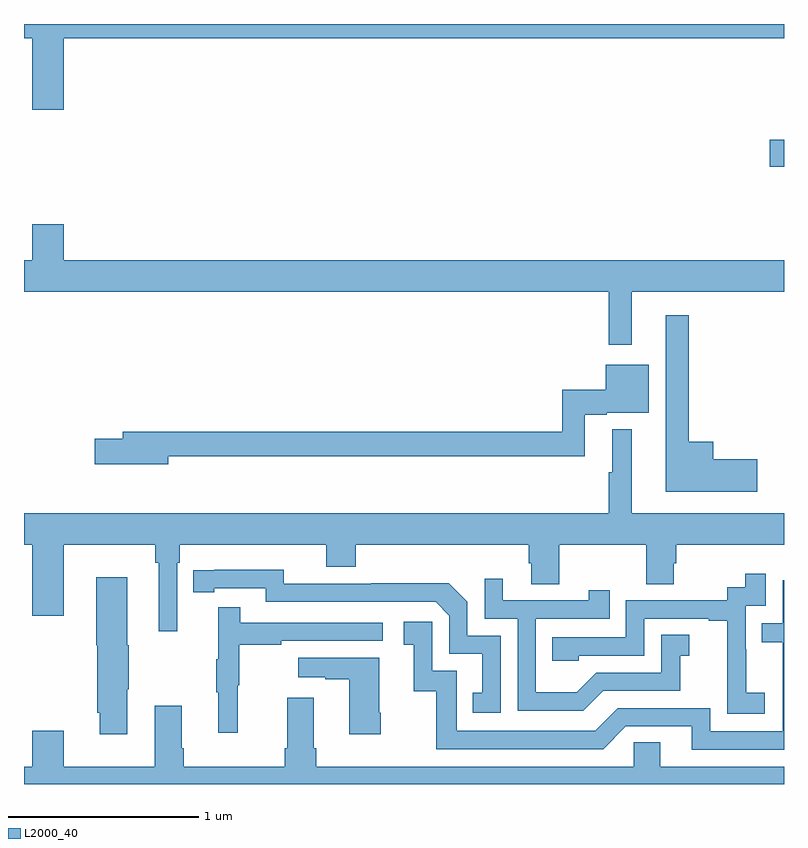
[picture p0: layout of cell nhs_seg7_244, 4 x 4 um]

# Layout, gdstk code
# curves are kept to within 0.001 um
import gdstk
lib = gdstk.Library(unit=1e-6, precision=1e-09)
def R(c, l, rs):  # rectangles x0, y0, x1, y1
    for r in rs: c.add(gdstk.rectangle(r[:2], r[2:], *l))
def P(c, l, *ps):  # polygons
    for p in ps: c.add(gdstk.Polygon(p, *l))
L2000_40 = (2000, 40)

nhs_seg7_244 = lib.new_cell('nhs_seg7_244')
R(nhs_seg7_244, L2000_40, [(132.924,1025.248,133,1025.39)])
P(nhs_seg7_244, L2000_40, [(129.208,1025.924),(133,1025.924),(133,1026),(129,1026),(129,1025.924),(129.044,1025.924),(129.044,1025.55),(129.208,1025.55)],
  [(132.199,1024.592),(133,1024.592),(133,1024.756),(129.208,1024.756),(129.208,1024.945),(129.044,1024.945),(129.044,1024.756),(129,1024.756),(129,1024.592),(132.078,1024.592),(132.078,1024.311),(132.199,1024.311)],
  [(132.859,1023.71),(132.628,1023.71),(132.628,1023.802),(132.499,1023.802),(132.499,1024.468),(132.377,1024.468),(132.377,1023.539),(132.859,1023.539)],
  [(129.76,1023.726),(131.95,1023.726),(131.95,1023.943),(132.066,1023.943),(132.066,1023.953),(132.289,1023.953),(132.289,1024.207),(132.062,1024.207),(132.062,1024.076),(131.833,1024.076),(131.833,1023.854),(129.521,1023.854),(129.521,1023.818),(129.372,1023.818),(129.372,1023.683),(129.76,1023.683)],
  [(129.807,1023.164),(129.821,1023.164),(129.821,1023.26),(130.592,1023.26),(130.592,1023.143),(130.745,1023.143),(130.745,1023.26),(131.657,1023.26),(131.657,1023.162),(131.669,1023.162),(131.669,1023.052),(131.817,1023.052),(131.817,1023.26),(132.274,1023.26),(132.274,1023.052),(132.421,1023.052),(132.421,1023.162),(132.434,1023.162),(132.434,1023.26),(133,1023.26),(133,1023.424),(132.199,1023.424),(132.199,1023.868),(132.097,1023.868),(132.097,1023.641),(132.078,1023.641),(132.078,1023.424),(129,1023.424),(129,1023.26),(129.044,1023.26),(129.044,1022.886),(129.208,1022.886),(129.208,1023.26),(129.691,1023.26),(129.691,1023.164),(129.71,1023.164),(129.71,1022.805),(129.807,1022.805)],
  [(131.508,1022.781),(131.334,1022.781),(131.334,1022.958),(131.236,1023.056),(130.828,1023.056),(130.828,1023.054),(130.368,1023.054),(130.368,1023.127),(129.892,1023.126),(129.892,1023.01),(130,1023.01),(130,1023.03),(130.272,1023.03),(130.272,1022.958),(131.166,1022.958),(131.238,1022.886),(131.238,1022.685),(131.411,1022.685),(131.411,1022.481),(131.362,1022.481),(131.362,1022.376),(131.508,1022.376)],
  [(132.898,1022.479),(132.8,1022.479),(132.8,1022.708),(132.798,1022.708),(132.798,1022.937),(132.903,1022.937),(132.903,1023.106),(132.795,1023.106),(132.795,1023.036),(132.702,1023.036),(132.702,1022.967),(132.168,1022.967),(132.168,1022.772),(131.779,1022.772),(131.779,1022.649),(131.919,1022.649),(131.919,1022.676),(132.264,1022.676),(132.264,1022.871),(132.605,1022.871),(132.605,1022.859),(132.701,1022.859),(132.701,1022.575),(132.7,1022.575),(132.7,1022.369),(132.898,1022.369)],
  [(129.544,1022.5),(129.552,1022.5),(129.552,1022.73),(129.544,1022.73),(129.544,1023.088),(129.38,1023.088),(129.38,1022.73),(129.386,1022.73),(129.386,1022.374),(129.398,1022.374),(129.398,1022.262),(129.544,1022.262)],
  [(132.049,1022.49),(132.453,1022.49),(132.453,1022.675),(132.502,1022.675),(132.502,1022.785),(132.354,1022.785),(132.354,1022.586),(132.012,1022.586),(131.908,1022.482),(131.694,1022.482),(131.694,1022.871),(132.083,1022.871),(132.083,1023.019),(131.972,1023.019),(131.972,1022.967),(131.521,1022.967),(131.521,1023.079),(131.424,1023.079),(131.424,1022.871),(131.598,1022.871),(131.598,1022.385),(131.944,1022.385)],
  [(133,1023.072),(132.993,1023.072),(132.993,1022.847),(132.883,1022.847),(132.883,1022.746),(132.993,1022.746),(132.993,1022.277),(132.612,1022.277),(132.612,1022.4),(132.126,1022.4),(132.006,1022.28),(131.277,1022.28),(131.277,1022.595),(131.148,1022.595),(131.148,1022.854),(130.998,1022.854),(130.998,1022.733),(131.051,1022.733),(131.051,1022.487),(131.169,1022.487),(131.169,1022.184),(132.048,1022.184),(132.168,1022.304),(132.515,1022.304),(132.515,1022.181),(133,1022.181)],
  [(130.124,1022.52),(130.132,1022.52),(130.132,1022.734),(130.355,1022.734),(130.355,1022.754),(130.888,1022.754),(130.888,1022.85),(130.139,1022.85),(130.139,1022.929),(130.022,1022.929),(130.022,1022.657),(130.011,1022.657),(130.011,1022.483),(130.022,1022.483),(130.022,1022.271),(130.124,1022.271)],
  [(130.878,1022.374),(130.87,1022.374),(130.87,1022.665),(130.443,1022.665),(130.443,1022.561),(130.586,1022.561),(130.586,1022.551),(130.712,1022.551),(130.712,1022.262),(130.878,1022.262)],
  [(133,1022.092),(132.349,1022.092),(132.349,1022.219),(132.21,1022.219),(132.21,1022.092),(130.538,1022.092),(130.538,1022.188),(130.525,1022.188),(130.525,1022.455),(130.385,1022.455),(130.385,1022.188),(130.373,1022.188),(130.373,1022.092),(129.842,1022.092),(129.842,1022.188),(129.829,1022.188),(129.829,1022.413),(129.689,1022.413),(129.689,1022.092),(129.208,1022.092),(129.208,1022.281),(129.044,1022.281),(129.044,1022.092),(129,1022.092),(129,1022),(133,1022)])

lib.write_gds('nhs_seg7_244.gds')
